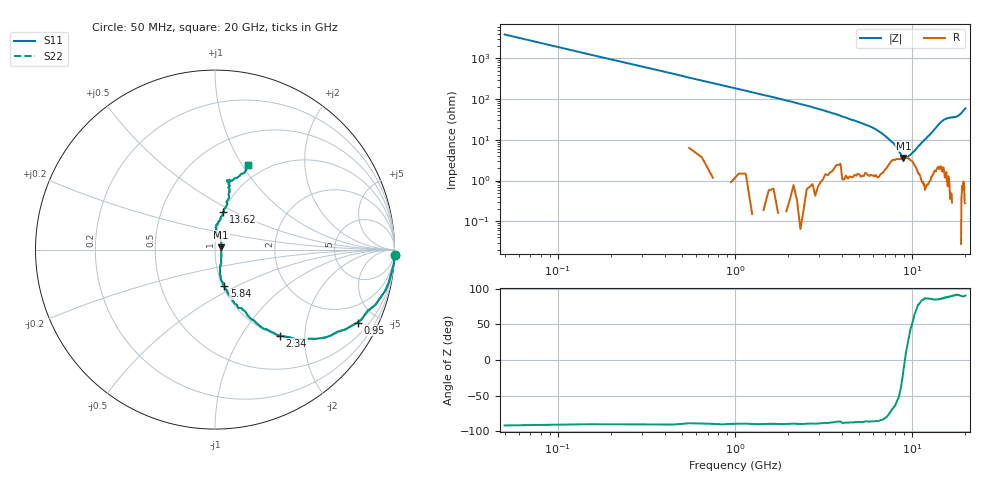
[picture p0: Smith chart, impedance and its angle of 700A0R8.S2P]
!  American Technical Ceramics  Date:  1/14/99
!  One Norden Lane
!  Huntington Station,  NY.  11746-2102
!  Tel:  (516) 547-5700  Fax:  (516) 547-5748
!  Part Number  700a0r8
!  Description: NPO, High Q, Temperature Stable
!  Application: Bypass, Coupling, Timing
!  Tuning, Blocking
# GHZ S DB R 50
! Freq  |S11|  S11 Ph  |S21|  S21 Ph  |S12|  S12 Ph  |S22|  S22 Ph
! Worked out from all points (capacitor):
!   201 points, 50 MHz to 20 GHz, reference 50 ohm
!   read as one part in series: C = 844 fF near 150 MHz
!   lowest |Z| = 3.58 ohm at 8.93 GHz (marker M1)
!   series resonance near 9.114 GHz, so ESL is about 360 pH
!   S11 on the Smith chart (normalised r, x): 50 MHz: -2, -65; 950 MHz: 0.98, -3.92; 2.34 GHz: 1.00, -1.51; 5.84 GHz: 1.02, -0.43; 13.62 GHz: 1.00, +0.44; 20 GHz: 0.84, +1.07
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0.05  0.01 -1.8  -31.74 90.2  -31.74 90.2  0.01 -1.8
0.15  0.00 -4.6  -21.99 85.7  -21.99 85.7  0.00 -4.6
0.25  -0.08 -7.8  -17.61 82.6  -17.61 82.6  -0.08 -7.8
0.35  -0.13 -10.8  -14.76 79.8  -14.76 79.8  -0.13 -10.8
0.55  -0.35 -16.0  -10.90 72.8  -10.90 72.8  -0.35 -16.0
0.95  -0.99 -27.1  -6.80 62.6  -6.80 62.6  -0.99 -27.1
1.45  -2.09 -38.5  -4.16 51.4  -4.16 51.4  -2.09 -38.5
2.34  -4.42 -52.9  -1.98 37.2  -1.98 37.2  -4.42 -52.9
3.44  -7.53 -63.2  -0.97 24.8  -0.97 24.8  -7.53 -63.2
5.84  -13.53 -75.7  -0.33 11.0  -0.33 11.0  -13.53 -75.7
6.73  -16.60 -78.1  -0.26 7.8  -0.26 7.8  -16.60 -78.1
7.93  -23.15 -60.4  -0.31 4.4  -0.31 4.4  -23.15 -60.4
8.53  -28.40 -24.9  -0.28 2.9  -0.28 2.9  -28.40 -24.9
8.73  -29.27 -1.0  -0.27 2.3  -0.27 2.3  -29.27 -1.0
8.93  -28.58 20.5  -0.28 1.8  -0.28 1.8  -28.58 20.5
10.03  -22.88 67.6  -0.29 -0.2  -0.29 -0.2  -22.88 67.6
13.42  -14.05 77.6  -0.37 -8.9  -0.37 -8.9  -14.05 77.6
13.62  -13.36 77.7  -0.39 -9.2  -0.39 -9.2  -13.36 77.7
14.91  -9.64 76.3  -0.75 -12.7  -0.75 -12.7  -9.64 76.3
16.71  -8.13 78.8  -1.07 -14.4  -1.07 -14.4  -8.13 78.8
18.5  -8.09 76.4  -1.25 -20.6  -1.25 -20.6  -8.09 76.4
20  -5.92 68.4  -2.28 -28.3  -2.28 -28.3  -5.92 68.4
